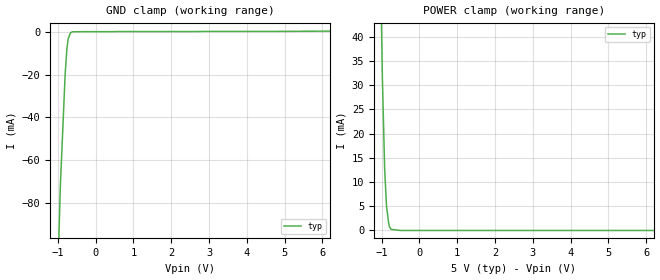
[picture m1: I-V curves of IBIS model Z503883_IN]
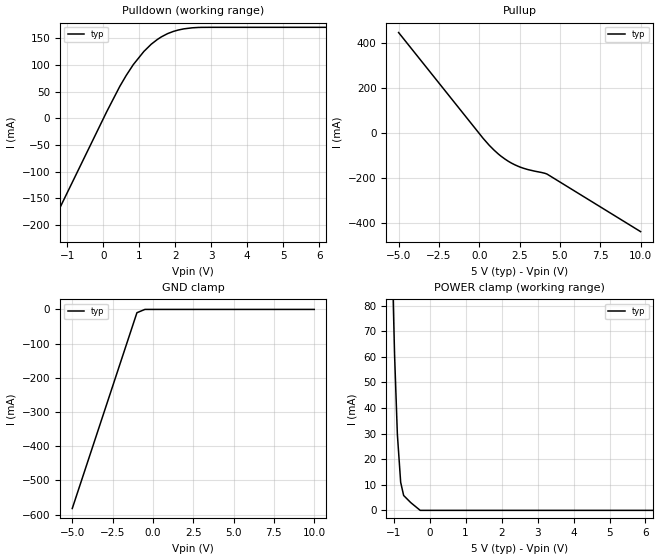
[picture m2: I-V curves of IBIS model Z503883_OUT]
| YOU ARE ONLY AUTHORIZED TO USE THIS SOFTWARE
| ACCORDING TO LICENSOR'S LICENSE RESTRICTIONS.
[IBIS Ver] 3.1
[File Name] mc74act86d.ibs
[File Rev] 2.0
[Source] Measured and created by ICX Technology
[Date] Friday 7/14/00 9:08:02 AM
[Copyright]
| (C) COPYRIGHT 1993-2000
| MENTOR GRAPHICS CORPORATION
| ICX STANDARD LIBRARY, ICX PROJECT MODELING,
| ICX CUSTOM MODELING, ICX VENDOR MODEL
| ALL RIGHTS RESERVED.
| THE FOLLOWING ARE TRADEMARKS OR SERVICE MARKS OF
| MENTOR GRAPHICS CORPORATION:ICX (R), ICX STANDARD
| LIBRARY(R), ICX PROJECT MODELING(R), ICX CUSTOM
| MODELING(R), qualityIBIS(TM), MODELVIEWER(TM),
| AND MODELEDITOR(TM)
| ALL COPIES OF SOFTWARE, INCLUDING BUT NOT LIMITED TO
| ANY MODIFICATIONS, ENHANCEMENTS OR DERIVATIVE WORKS,
| MUST CONTAIN ALL MENTOR GRAPHICS CORPORATION'S
| NOTICES AND LEGENDS, INCLUDING THOSE EMBEDDED IN
| SOFTWARE AND THOSE AFFIXED TO SOFTWARE MEDIUM
| AND CONTAINER, AS RECEIVED FROM MENTOR GRAPHICS
| CORPORATION.
|  ZAP Model Builder 2.7
[Component] MC74ACT86D
[Manufacturer] OnSemiconductor
[Package]
| variable   typ   min   max
R_pkg  .155ohms NA NA
L_pkg  3.028nH NA NA
C_pkg  .381pF NA NA
[Pin] signal_name  model_name  R_pin  L_pin C_pin
1 A Z503883_IN .16 3.587n .407p
2 B Z503883_IN .156 3.147n .387p
3 Y Z503883_OUT .152 2.717n .367p
4 A Z503883_IN .148 2.297n .347p
5 B Z503883_IN .152 2.717n .367p
6 Y Z503883_OUT .156 3.147n .387p
7 GROUND GND .16 3.587n .407p
8 Y Z503883_OUT .16 3.587n .407p
9 A Z503883_IN .156 3.147n .387p
10 B Z503883_IN .152 2.717n .367p
11 Y Z503883_OUT .148 2.297n .347p
12 A Z503883_IN .152 2.717n .367p
13 B Z503883_IN .156 3.147n .387p
14 VCC POWER .16 3.587n .407p
| Models and submodels in the file (2): Z503883_IN (Input), Z503883_OUT (Output)
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| (C) COPYRIGHT 1993-2000
| MENTOR GRAPHICS CORPORATION
| ICX STANDARD LIBRARY, ICX PROJECT MODELING,
| ICX CUSTOM MODELING, ICX VENDOR MODEL
| ALL RIGHTS RESERVED.
| THE FOLLOWING ARE TRADEMARKS OR SERVICE MARKS OF
| MENTOR GRAPHICS CORPORATION:ICX (R), ICX STANDARD
| LIBRARY(R), ICX PROJECT MODELING(R), ICX CUSTOM
| MODELING(R), qualityIBIS(TM), MODELVIEWER(TM),
| AND MODELEDITOR(TM)
| ALL COPIES OF SOFTWARE, INCLUDING BUT NOT LIMITED TO
| ANY MODIFICATIONS, ENHANCEMENTS OR DERIVATIVE WORKS,
| MUST CONTAIN ALL MENTOR GRAPHICS CORPORATION'S
| NOTICES AND LEGENDS, INCLUDING THOSE EMBEDDED IN
| SOFTWARE AND THOSE AFFIXED TO SOFTWARE MEDIUM
| AND CONTAINER, AS RECEIVED FROM MENTOR GRAPHICS
| CORPORATION.
| Model Application Version 1.89 2/18/99.
[Model] Z503883_IN
Model_type Input
Vinl = 800.0mV
Vinh = 2.000V
C_comp 4.000pF NA NA
| variable typ   min   max
[Voltage Range] 5.000V NA NA
[GND Clamp Reference] 0.000V NA NA
[POWER Clamp Reference] 5.000V NA NA
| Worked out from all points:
|   GND clamp passes 1 mA (typ) near -0.68 V on its own axis
|   POWER clamp passes 1 mA (typ) near -0.80 V on its own axis
[GND Clamp]
-5V       -2.216A    NA         NA
-1.134V   -194.8mA   NA         NA
-932mV    -71.6mA    NA         NA
-807.2mV  -20.06mA   NA         NA
-761.7mV  -8.155mA   NA         NA
-727.7mV  -3.299mA   NA         NA
-667.2mV  -465.6uA   NA         NA
-627.8mV  -1.079uA   NA         NA
10V       692.9uA    NA         NA
[POWER Clamp]
-5V       3.473A     NA         NA
-1.113V   112.5mA    NA         NA
-1.019V   50.75mA    NA         NA
-980mV    31.74mA    NA         NA
-918mV    12.52mA    NA         NA
-869mV    4.946mA    NA         NA
-811mV    1.409mA    NA         NA
-792mV    793.7uA    NA         NA
-752mV    233.1uA    NA         NA
-501.3mV  0A         NA         NA
10V       0A         NA         NA
| (C) COPYRIGHT 1993-2000
| MENTOR GRAPHICS CORPORATION
| ICX STANDARD LIBRARY, ICX PROJECT MODELING,
| ICX CUSTOM MODELING, ICX VENDOR MODEL
| ALL RIGHTS RESERVED.
| THE FOLLOWING ARE TRADEMARKS OR SERVICE MARKS OF
| MENTOR GRAPHICS CORPORATION:ICX (R), ICX STANDARD
| LIBRARY(R), ICX PROJECT MODELING(R), ICX CUSTOM
| MODELING(R), qualityIBIS(TM), MODELVIEWER(TM),
| AND MODELEDITOR(TM)
| ALL COPIES OF SOFTWARE, INCLUDING BUT NOT LIMITED TO
| ANY MODIFICATIONS, ENHANCEMENTS OR DERIVATIVE WORKS,
| MUST CONTAIN ALL MENTOR GRAPHICS CORPORATION'S
| NOTICES AND LEGENDS, INCLUDING THOSE EMBEDDED IN
| SOFTWARE AND THOSE AFFIXED TO SOFTWARE MEDIUM
| AND CONTAINER, AS RECEIVED FROM MENTOR GRAPHICS
| CORPORATION.
| Model Application Version 1.89 2/18/99.
[Model] Z503883_OUT
Model_type Output
Vref=0.000V
Rref=500.0ohms
Cref=50.00pF
Vmeas=1.500V
C_comp 8.000pF NA NA
| variable typ   min   max
[Voltage Range] 5.000V NA NA
[POWER Clamp Reference] 5.000V NA NA
[Pullup Reference] 5.000V NA NA
[Pulldown Reference] 0.000V NA NA
[GND Clamp Reference] 0.000V NA NA
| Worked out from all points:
|   slope of the pulldown table from 0 to 0.75 V, typ, clamps not added: 8.09 ohm
|   slope of the pullup table from 0 to 0.75 V, typ, clamps not added: 12.2 ohm
[GND Clamp]
-5V       -582.1mA   NA         NA
-991.2mV  -9.656mA   NA         NA
-495.6mV  0A         NA         NA
10V       0A         NA         NA
[Pulldown]
-5V       -692.5mA   NA         NA
92.74mV   12.37mA    NA         NA
459.1mV   60.21mA    NA         NA
833.4mV   100.9mA    NA         NA
1.128V    125.6mA    NA         NA
1.333V    139.2mA    NA         NA
1.616V    153mA      NA         NA
1.787V    159mA      NA         NA
2.236V    167.9mA    NA         NA
2.715V    170.7mA    NA         NA
10V       170.8mA    NA         NA
[Pullup]
-5V       444.2mA    NA         NA
234mV     -23.53mA   NA         NA
620mV     -54.9mA    NA         NA
1.197V    -94.26mA   NA         NA
1.802V    -125.6mA   NA         NA
2.398V    -147.3mA   NA         NA
3.022V    -162.4mA   NA         NA
4.2V      -182.1mA   NA         NA
10V       -436.9mA   NA         NA
[POWER Clamp]
-5V       2.353A     NA         NA
-976mV    61mA       NA         NA
-898mV    29.77mA    NA         NA
-806mV    10.96mA    NA         NA
-723mV    5.808mA    NA         NA
-527mV    3.044mA    NA         NA
-263.5mV  0A         NA         NA
10V       0A         NA         NA
[Ramp]
| variable typ min max
dV/dt_r 2.950/637.8p NA NA
dV/dt_f 2.950/1.392n NA NA
R_load = 500.0Ohms
